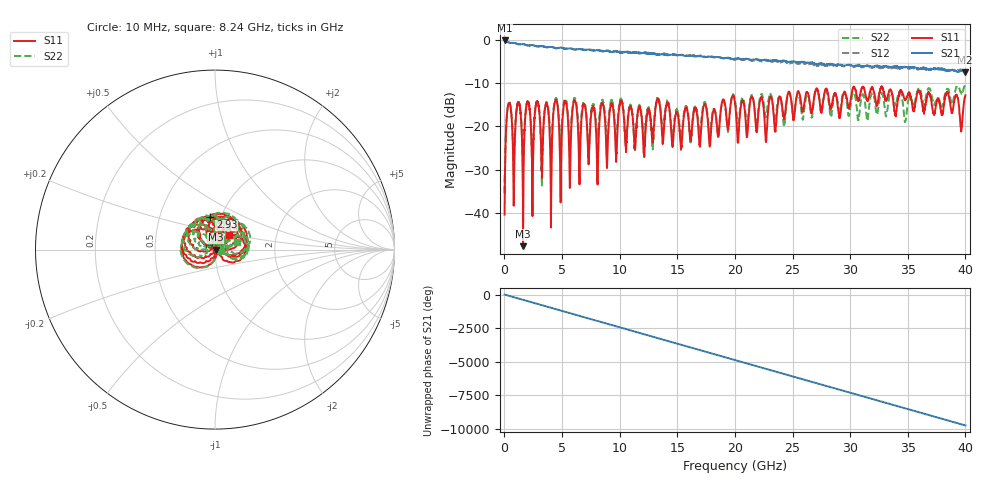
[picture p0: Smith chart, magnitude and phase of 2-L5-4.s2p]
! 2/21/2025 7:10:01 AM
! Z:\OQC\AD5\613\LOT-141-0825\SINGLE\2-L5-4.S2P
! CHANNEL.1
! TR.MEASUREMENT
! CORRECTED.DATA
! RF.CORRECTION: FULL.FOUR.PORT.CAL.PORT.1.2.3.4
! AVERAGING.OFF
! IF.BANDWIDTH: 1KHZ
! SWEEPTYPE:  FREQ.SWEEP(Linear)
! Reference Plane Port Info
! PORT:  PORT1  PORT2
! DISTANCE:  0  m  0  m
! TIME:  0  s  0  s
! PHASE.OFFSET:  0 °  0 °
! LOSS:  0  dB  0  dB
! REF.LOSS:  0  dB  0  dB
! REF.FREQ:  0  Hz  0  Hz
! Power Info
! POWER:  -10  dBm  -10  dBm
! EFF.POWER:  -10  dBm  -10  dBm
! SOURCE.ATTEN:  0  dB  0  dB
! TEST.ATTEN:  0  dB  0  dB
# GHZ S RI R 50.0
! FREQ.GHZ  S11RE  S11IM  S21RE  S21IM  S12RE  S12IM  S22RE  S22IM
!; PortSelection: Port_12
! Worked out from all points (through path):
!   4000 points, 10 MHz to 40 GHz, reference 50 ohm
!   highest |S21| = -0.08 dB at 10 MHz (marker M1); lowest = -7.4 dB at 39.93 GHz (marker M2)
!   group delay of S21, straight-line fit = 678 ps
!   lowest |S11| = -47.8 dB at 1.61 GHz (marker M3), VSWR 1.01, Z = 50.4 - j0.125 ohm
!   |S11| at or under -10 dB: start of sweep to end of sweep
!   |S22| runs from -35.9 to -10.2 dB; largest |S21 - S12| = 0.042
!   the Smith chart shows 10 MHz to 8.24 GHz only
!   S11 on the Smith chart (normalised r, x): 10 MHz: 1.02, -0.01; 2.93 GHz: 0.89, +0.33; 8.24 GHz: 1.16, +0.19
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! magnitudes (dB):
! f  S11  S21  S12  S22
! 10 MHz  -40.4  -0.1  -0.1  -31.3
! 380 MHz  -14.6  -0.6  -0.6  -14.4
! 1.25 GHz  -14.4  -1.0  -1.0  -14.4
! 1.61 GHz  -47.8  -0.9  -0.9  -28.6
! 1.97 GHz  -14.5  -1.2  -1.2  -14.5
! 2.42 GHz  -37.4  -1.2  -1.2  -30.1
! 2.93 GHz  -14.8  -1.5  -1.4  -14.8
! 4.02 GHz  -35.9  -1.6  -1.6  -24.9
! 4.44 GHz  -14.0  -1.9  -1.8  -13.5
! 4.85 GHz  -34.5  -1.8  -1.7  -24.0
! 5.26 GHz  -14.1  -2.0  -2.0  -13.7
! 5.65 GHz  -31.4  -1.9  -1.9  -23.8
! 6.07 GHz  -13.9  -2.2  -2.1  -13.5
! 6.68 GHz  -18.3  -2.2  -2.1  -17.3
! 8.24 GHz  -19.0  -2.4  -2.4  -17.7
! 13.34 GHz  -13.7  -3.4  -3.3  -13.5
! 15.32 GHz  -25.4  -3.5  -3.5  -23.3
! 20.01 GHz  -14.9  -4.3  -4.5  -13.9
! 26.67 GHz  -16.6  -5.1  -5.4  -17.8
! 33.34 GHz  -12.1  -6.1  -6.4  -13.9
! 39.93 GHz  -13.3  -7.4  -7.0  -10.6
! 40 GHz  -12.8  -7.4  -7.1  -10.2
